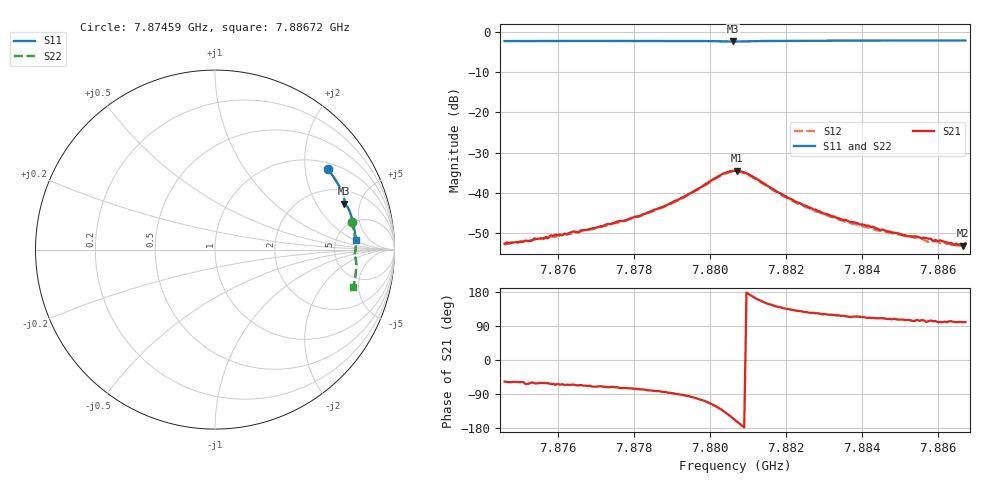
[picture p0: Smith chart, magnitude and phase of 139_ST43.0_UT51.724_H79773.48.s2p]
#  HZ  S  DB  R  50.00
! Rohde & Schwarz Vector Network Analyzer
! Rohde-Schwarz,ZNB20-2Port,1311601062101988,3.16
! Created: UTC 1/12/2023, 6:39:37 PM
! freq[Hz]  db:S11  ang:S11  db:S21  ang:S21  db:S12  ang:S12  db:S22  ang:S22
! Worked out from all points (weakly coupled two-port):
!   201 points, 7.87459 GHz to 7.88672 GHz, reference 50 ohm
!   highest |S21| = -34.51 dB at 7.88072 GHz (marker M1); lowest = -53.2 dB at 7.88666 GHz (marker M2)
!   lowest |S11| = -2.3 dB at 7.8806 GHz (marker M3), VSWR 7.45, Z = 145 + j177 ohm
!   |S11| at or under -10 dB: nowhere
!   |S22| runs from -2.3 to -2.0 dB; largest |S21 - S12| = 0.0012
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7.874592e9  -2.25 35.5  -52.68 -56.9  -52.94 -59.4  -2.20 11.5
7.875744e9  -2.22 32.4  -51.25 -61.5  -51.38 -66.4  -2.17 8.7
7.875805e9  -2.22 32.2  -50.60 -63.1  -50.94 -67.0  -2.17 8.6
7.876108e9  -2.22 31.4  -50.58 -63.7  -50.54 -67.3  -2.16 7.8
7.876654e9  -2.21 29.9  -49.27 -67.3  -49.40 -70.2  -2.14 6.6
7.877807e9  -2.20 26.7  -46.78 -74.0  -46.78 -78.3  -2.12 3.9
7.878656e9  -2.19 24.4  -43.83 -82.0  -43.94 -86.5  -2.11 1.9
7.879323e9  -2.20 22.5  -40.96 -93.2  -41.12 -96.8  -2.11 0.2
7.880354e9  -2.32 19.8  -35.19 -134.7  -35.41 -138.2  -2.22 -2.1
7.880597e9  -2.34 19.5  -34.54 -153.1  -34.69 -156.7  -2.25 -2.2
7.880657e9  -2.34 19.5  -34.52 -158.4  -34.64 -161.6  -2.25 -2.2
7.880718e9  -2.34 19.4  -34.51 -163.3  -34.70 -166.4  -2.26 -2.2
7.881021e9  -2.30 19.1  -35.42 173.7  -35.62 170.4  -2.21 -2.4
7.882052e9  -2.17 16.4  -41.25 134.5  -41.39 130.8  -2.06 -4.6
7.88272e9  -2.14 14.5  -44.19 124.5  -44.38 120.5  -2.03 -6.2
7.883569e9  -2.12 12.2  -46.72 115.7  -47.30 112.7  -2.00 -8.2
7.884721e9  -2.11 9.2  -49.64 108.7  -49.90 105.4  -1.99 -10.7
7.88557e9  -2.10 7.0  -51.33 105.0  -51.37 99.5  -1.97 -12.6
7.885752e9  -2.10 6.5  -51.42 102.3  -52.22 99.0  -1.97 -13.0
7.885934e9  -2.09 6.0  -51.76 102.8  -52.00 100.1  -1.96 -13.4
7.886662e9  -2.09 4.1  -53.15 99.6  -53.11 96.6  -1.95 -14.9
7.886723e9  -2.09 4.0  -52.56 100.1  -53.28 96.2  -1.96 -15.1
